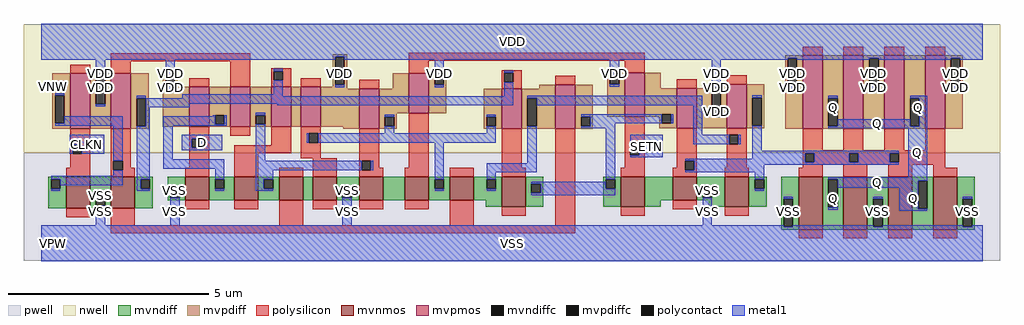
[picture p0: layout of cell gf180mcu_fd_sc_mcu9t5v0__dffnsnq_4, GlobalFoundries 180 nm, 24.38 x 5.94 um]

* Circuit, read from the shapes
.subckt gf180mcu_fd_sc_mcu9t5v0__dffnsnq_4 D SETN CLKN Q VDD VNW VPW VSS
XM1 VSS CLKN n1 VPW nfet_06v0 w=0.79u l=0.6u
XM2 n2 n1 VSS VPW nfet_06v0 w=0.79u l=0.6u
XM3 n3 D VSS VPW nfet_06v0 w=0.59u l=0.6u
XM4 n4 n2 n3 VPW nfet_06v0 w=0.59u l=0.6u
XM5 n5 n1 n4 VPW nfet_06v0 w=0.59u l=0.6u
XM6 VSS n6 n5 VPW nfet_06v0 w=0.59u l=0.6u
XM7 n7 n4 VSS VPW nfet_06v0 w=0.59u l=0.6u
XM8 n6 SETN n7 VPW nfet_06v0 w=0.59u l=0.6u
XM9 n8 n1 n6 VPW nfet_06v0 w=0.59u l=0.6u
XM10 n9 n2 n8 VPW nfet_06v0 w=0.75u l=0.6u
XM11 n10 SETN n9 VPW nfet_06v0 w=0.75u l=0.6u
XM12 VSS n11 n10 VPW nfet_06v0 w=0.59u l=0.6u
XM13 n11 n8 VSS VPW nfet_06v0 w=0.75u l=0.6u
XM14 Q n11 VSS VPW nfet_06v0 w=1.32u l=0.6u m=4
XM15 VDD CLKN n1 VNW pfet_06v0 w=1.38u l=0.5u
XM16 n2 n1 VDD VNW pfet_06v0 w=1.38u l=0.5u
XM17 n3 D VDD VNW pfet_06v0 w=1u l=0.5u
XM18 n4 n1 n3 VNW pfet_06v0 w=1u l=0.5u
XM19 n12 n2 n4 VNW pfet_06v0 w=1u l=0.5u
XM20 VDD n6 n12 VNW pfet_06v0 w=1u l=0.5u
XM21 n6 n4 VDD VNW pfet_06v0 w=1u l=0.5u
XM22 VDD SETN n6 VNW pfet_06v0 w=1u l=0.5u
XM23 n8 n2 n6 VNW pfet_06v0 w=1u l=0.5u
XM24 n9 n1 n8 VNW pfet_06v0 w=1.1u l=0.5u
XM25 n9 SETN VDD VNW pfet_06v0 w=1.1u l=0.5u
XM26 VDD n11 n9 VNW pfet_06v0 w=1u l=0.5u
XM27 n11 n8 VDD VNW pfet_06v0 w=1.1u l=0.5u
XM28 Q n11 VDD VNW pfet_06v0 w=1.83u l=0.5u m=4
.ends

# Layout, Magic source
magic
tech gf180mcuD
magscale 1 10
<< nwell >>
rect -86 453 4790 1094
<< pwell >>
rect -86 -86 4790 453
<< mvnmos >>
rect 124 175 244 333
rect 348 175 468 333
rect 720 215 840 333
rect 964 215 1084 333
rect 1188 215 1308 333
rect 1356 215 1476 333
rect 1588 215 1708 333
rect 1816 215 1936 333
rect 2040 215 2160 333
rect 2300 183 2420 333
rect 2896 183 3016 333
rect 3156 215 3276 333
rect 3416 183 3536 333
rect 3784 69 3904 333
rect 4008 69 4128 333
rect 4232 69 4352 333
rect 4456 69 4576 333
<< mvpmos >>
rect 144 573 244 849
rect 348 573 448 849
rect 740 582 840 782
rect 944 582 1044 782
rect 1148 582 1248 782
rect 1296 582 1396 782
rect 1588 573 1688 773
rect 1836 651 1936 851
rect 2300 573 2400 773
rect 2568 573 2668 793
rect 2916 633 3016 853
rect 3176 575 3276 775
rect 3424 575 3524 795
rect 3804 573 3904 939
rect 4008 573 4108 939
rect 4212 573 4312 939
rect 4416 573 4516 939
<< mvndiff >>
rect 36 320 124 333
rect 36 274 49 320
rect 95 274 124 320
rect 36 175 124 274
rect 244 234 348 333
rect 244 188 273 234
rect 319 188 348 234
rect 244 175 348 188
rect 468 320 556 333
rect 468 274 497 320
rect 543 274 556 320
rect 468 175 556 274
rect 632 274 720 333
rect 632 228 645 274
rect 691 228 720 274
rect 632 215 720 228
rect 840 320 964 333
rect 840 274 869 320
rect 915 274 964 320
rect 840 215 964 274
rect 1084 320 1188 333
rect 1084 274 1113 320
rect 1159 274 1188 320
rect 1084 215 1188 274
rect 1308 215 1356 333
rect 1476 274 1588 333
rect 1476 228 1505 274
rect 1551 228 1588 274
rect 1476 215 1588 228
rect 1708 215 1816 333
rect 1936 320 2040 333
rect 1936 274 1965 320
rect 2011 274 2040 320
rect 1936 215 2040 274
rect 2160 320 2300 333
rect 2160 274 2225 320
rect 2271 274 2300 320
rect 2160 215 2300 274
rect 2220 183 2300 215
rect 2420 298 2508 333
rect 2420 252 2449 298
rect 2495 252 2508 298
rect 2420 183 2508 252
rect 2808 320 2896 333
rect 2808 274 2821 320
rect 2867 274 2896 320
rect 2808 183 2896 274
rect 3016 215 3156 333
rect 3276 274 3416 333
rect 3276 228 3305 274
rect 3351 228 3416 274
rect 3276 215 3416 228
rect 3016 183 3096 215
rect 3336 183 3416 215
rect 3536 320 3624 333
rect 3536 274 3565 320
rect 3611 274 3624 320
rect 3536 183 3624 274
rect 3696 222 3784 333
rect 3696 82 3709 222
rect 3755 82 3784 222
rect 3696 69 3784 82
rect 3904 320 4008 333
rect 3904 180 3933 320
rect 3979 180 4008 320
rect 3904 69 4008 180
rect 4128 222 4232 333
rect 4128 82 4157 222
rect 4203 82 4232 222
rect 4128 69 4232 82
rect 4352 314 4456 333
rect 4352 174 4381 314
rect 4427 174 4456 314
rect 4352 69 4456 174
rect 4576 222 4664 333
rect 4576 82 4605 222
rect 4651 82 4664 222
rect 4576 69 4664 82
<< mvpdiff >>
rect 56 739 144 849
rect 56 599 69 739
rect 115 599 144 739
rect 56 573 144 599
rect 244 836 348 849
rect 244 696 273 836
rect 319 696 348 836
rect 244 573 348 696
rect 448 726 536 849
rect 448 586 477 726
rect 523 586 536 726
rect 448 573 536 586
rect 608 829 680 842
rect 608 783 621 829
rect 667 783 680 829
rect 608 782 680 783
rect 1456 932 1528 945
rect 1456 792 1469 932
rect 1515 792 1528 932
rect 3716 926 3804 939
rect 1456 782 1528 792
rect 608 582 740 782
rect 840 641 944 782
rect 840 595 869 641
rect 915 595 944 641
rect 840 582 944 595
rect 1044 641 1148 782
rect 1044 595 1073 641
rect 1119 595 1148 641
rect 1044 582 1148 595
rect 1248 582 1296 782
rect 1396 773 1528 782
rect 1756 773 1836 851
rect 1396 582 1588 773
rect 1508 573 1588 582
rect 1688 651 1836 773
rect 1936 838 2024 851
rect 1936 792 1965 838
rect 2011 792 2024 838
rect 1936 651 2024 792
rect 2828 840 2916 853
rect 2828 794 2841 840
rect 2887 794 2916 840
rect 2488 773 2568 793
rect 1688 632 1776 651
rect 1688 586 1717 632
rect 1763 586 1776 632
rect 1688 573 1776 586
rect 2212 632 2300 773
rect 2212 586 2225 632
rect 2271 586 2300 632
rect 2212 573 2300 586
rect 2400 726 2568 773
rect 2400 586 2429 726
rect 2475 586 2568 726
rect 2400 573 2568 586
rect 2668 632 2756 793
rect 2828 633 2916 794
rect 3016 775 3096 853
rect 3336 782 3424 795
rect 3336 775 3349 782
rect 3016 645 3176 775
rect 3016 633 3101 645
rect 2668 586 2697 632
rect 2743 586 2756 632
rect 2668 573 2756 586
rect 3088 599 3101 633
rect 3147 599 3176 645
rect 3088 575 3176 599
rect 3276 642 3349 775
rect 3395 642 3424 782
rect 3276 575 3424 642
rect 3524 728 3612 795
rect 3524 588 3553 728
rect 3599 588 3612 728
rect 3524 575 3612 588
rect 3716 786 3729 926
rect 3775 786 3804 926
rect 3716 573 3804 786
rect 3904 726 4008 939
rect 3904 586 3933 726
rect 3979 586 4008 726
rect 3904 573 4008 586
rect 4108 926 4212 939
rect 4108 786 4137 926
rect 4183 786 4212 926
rect 4108 573 4212 786
rect 4312 726 4416 939
rect 4312 586 4341 726
rect 4387 586 4416 726
rect 4312 573 4416 586
rect 4516 926 4604 939
rect 4516 786 4545 926
rect 4591 786 4604 926
rect 4516 573 4604 786
<< mvndiffc >>
rect 49 274 95 320
rect 273 188 319 234
rect 497 274 543 320
rect 645 228 691 274
rect 869 274 915 320
rect 1113 274 1159 320
rect 1505 228 1551 274
rect 1965 274 2011 320
rect 2225 274 2271 320
rect 2449 252 2495 298
rect 2821 274 2867 320
rect 3305 228 3351 274
rect 3565 274 3611 320
rect 3709 82 3755 222
rect 3933 180 3979 320
rect 4157 82 4203 222
rect 4381 174 4427 314
rect 4605 82 4651 222
<< mvpdiffc >>
rect 69 599 115 739
rect 273 696 319 836
rect 477 586 523 726
rect 621 783 667 829
rect 1469 792 1515 932
rect 869 595 915 641
rect 1073 595 1119 641
rect 1965 792 2011 838
rect 2841 794 2887 840
rect 1717 586 1763 632
rect 2225 586 2271 632
rect 2429 586 2475 726
rect 2697 586 2743 632
rect 3101 599 3147 645
rect 3349 642 3395 782
rect 3553 588 3599 728
rect 3729 786 3775 926
rect 3933 586 3979 726
rect 4137 786 4183 926
rect 4341 586 4387 726
rect 4545 786 4591 926
<< polysilicon >>
rect 348 909 1044 949
rect 144 849 244 893
rect 348 849 448 909
rect 740 782 840 826
rect 944 782 1044 909
rect 1148 861 1248 874
rect 1148 815 1161 861
rect 1207 815 1248 861
rect 1148 782 1248 815
rect 1296 782 1396 826
rect 1836 913 3016 953
rect 3804 939 3904 983
rect 4008 939 4108 983
rect 4212 939 4312 983
rect 4416 939 4516 983
rect 1836 851 1936 913
rect 2300 852 2400 865
rect 2916 853 3016 913
rect 1588 773 1688 817
rect 144 494 244 573
rect 144 448 157 494
rect 203 448 244 494
rect 144 377 244 448
rect 124 333 244 377
rect 348 412 448 573
rect 348 366 361 412
rect 407 377 448 412
rect 740 523 840 582
rect 944 538 1044 582
rect 740 477 753 523
rect 799 477 840 523
rect 1148 490 1248 582
rect 740 377 840 477
rect 407 366 468 377
rect 348 333 468 366
rect 720 333 840 377
rect 964 450 1248 490
rect 1296 549 1396 582
rect 2300 806 2313 852
rect 2359 806 2400 852
rect 2300 773 2400 806
rect 2568 793 2668 837
rect 1296 503 1337 549
rect 1383 503 1396 549
rect 964 333 1084 450
rect 1296 425 1396 503
rect 1188 333 1308 377
rect 1356 333 1476 425
rect 1588 412 1688 573
rect 1588 366 1601 412
rect 1647 377 1688 412
rect 1836 377 1936 651
rect 3176 775 3276 819
rect 3424 795 3524 839
rect 2300 377 2400 573
rect 1647 366 1708 377
rect 1588 333 1708 366
rect 1816 333 1936 377
rect 2040 333 2160 377
rect 2300 333 2420 377
rect 124 131 244 175
rect 348 91 468 175
rect 720 171 840 215
rect 964 171 1084 215
rect 1188 91 1308 215
rect 1356 171 1476 215
rect 1588 171 1708 215
rect 1816 171 1936 215
rect 2040 91 2160 215
rect 2300 139 2420 183
rect 2568 91 2668 573
rect 2916 487 3016 633
rect 2916 441 2942 487
rect 2988 441 3016 487
rect 2916 377 3016 441
rect 3176 412 3276 575
rect 3176 377 3217 412
rect 2896 333 3016 377
rect 3156 366 3217 377
rect 3263 366 3276 412
rect 3424 542 3524 575
rect 3424 496 3437 542
rect 3483 496 3524 542
rect 3424 377 3524 496
rect 3804 465 3904 573
rect 4008 465 4108 573
rect 4212 465 4312 573
rect 4416 465 4516 573
rect 3804 451 4516 465
rect 3804 405 3817 451
rect 3863 405 4037 451
rect 4083 405 4239 451
rect 4285 405 4516 451
rect 3804 393 4516 405
rect 3804 377 3904 393
rect 3156 333 3276 366
rect 3416 333 3536 377
rect 3784 333 3904 377
rect 4008 333 4128 393
rect 4232 333 4352 393
rect 4456 377 4516 393
rect 4456 333 4576 377
rect 2896 139 3016 183
rect 3156 171 3276 215
rect 3416 139 3536 183
rect 348 51 2668 91
rect 3784 25 3904 69
rect 4008 25 4128 69
rect 4232 25 4352 69
rect 4456 25 4576 69
<< polycontact >>
rect 1161 815 1207 861
rect 157 448 203 494
rect 361 366 407 412
rect 753 477 799 523
rect 2313 806 2359 852
rect 1337 503 1383 549
rect 1601 366 1647 412
rect 2942 441 2988 487
rect 3217 366 3263 412
rect 3437 496 3483 542
rect 3817 405 3863 451
rect 4037 405 4083 451
rect 4239 405 4285 451
<< metal1 >>
rect 0 932 4704 1098
rect 0 918 1469 932
rect 273 836 319 918
rect 69 739 115 750
rect 621 829 667 918
rect 621 772 667 783
rect 1161 861 1207 872
rect 1161 744 1207 815
rect 1515 926 4704 932
rect 1515 918 3729 926
rect 1469 781 1515 792
rect 1965 838 2011 918
rect 1965 781 2011 792
rect 2313 852 2359 863
rect 273 685 319 696
rect 477 726 523 737
rect 704 735 1207 744
rect 2313 735 2359 806
rect 2841 840 2887 918
rect 2841 783 2887 794
rect 3349 782 3395 918
rect 704 726 2359 735
rect 115 599 407 634
rect 69 588 407 599
rect 142 494 315 542
rect 142 448 157 494
rect 203 448 315 494
rect 361 412 407 588
rect 361 337 407 366
rect 49 320 407 337
rect 95 291 407 320
rect 523 698 2359 726
rect 523 680 741 698
rect 1179 689 2359 698
rect 2429 726 3303 737
rect 523 586 543 680
rect 1073 641 1119 652
rect 858 634 869 641
rect 477 320 543 586
rect 610 595 869 634
rect 915 595 926 641
rect 610 588 926 595
rect 610 420 656 588
rect 702 523 905 542
rect 702 477 753 523
rect 799 477 905 523
rect 702 466 905 477
rect 610 374 915 420
rect 49 263 95 274
rect 477 274 497 320
rect 869 320 915 374
rect 477 263 543 274
rect 645 274 691 285
rect 273 234 319 245
rect 273 90 319 188
rect 869 263 915 274
rect 1073 412 1119 595
rect 1717 632 1763 643
rect 1717 549 1763 586
rect 2225 632 2271 643
rect 2225 549 2271 586
rect 1326 503 1337 549
rect 1383 503 2271 549
rect 2475 691 3303 726
rect 1073 366 1601 412
rect 1647 366 1658 412
rect 1073 320 1159 366
rect 1073 274 1113 320
rect 1965 320 2011 503
rect 2429 401 2475 586
rect 2697 632 3101 645
rect 2743 599 3101 632
rect 3147 599 3158 645
rect 2743 586 2867 599
rect 2697 575 2867 586
rect 1073 263 1159 274
rect 1505 274 1551 285
rect 645 90 691 228
rect 1965 263 2011 274
rect 2225 355 2475 401
rect 2225 320 2271 355
rect 2821 320 2867 575
rect 3257 542 3303 691
rect 3775 918 4137 926
rect 3729 775 3775 786
rect 4183 918 4545 926
rect 4137 775 4183 786
rect 4591 918 4704 926
rect 4545 775 4591 786
rect 3349 631 3395 642
rect 3553 728 3599 739
rect 2942 487 3106 542
rect 3257 496 3437 542
rect 3483 496 3494 542
rect 2988 441 3106 487
rect 2942 430 3106 441
rect 3553 464 3599 588
rect 3933 726 3979 737
rect 4341 726 4427 737
rect 3979 586 4341 621
rect 4387 586 4427 726
rect 3933 575 4427 586
rect 3553 451 4285 464
rect 3553 423 3817 451
rect 3217 412 3817 423
rect 3263 405 3817 412
rect 3863 405 4037 451
rect 4083 405 4239 451
rect 3263 392 4285 405
rect 3263 366 3611 392
rect 3217 355 3611 366
rect 2225 263 2271 274
rect 2449 298 2821 309
rect 2495 274 2821 298
rect 3565 320 3611 355
rect 4331 331 4427 575
rect 2495 252 2867 274
rect 2449 241 2867 252
rect 3305 274 3351 285
rect 1505 90 1551 228
rect 3565 263 3611 274
rect 3933 320 4427 331
rect 3305 90 3351 228
rect 3709 222 3755 233
rect 0 82 3709 90
rect 3979 314 4427 320
rect 3979 279 4381 314
rect 3933 169 3979 180
rect 4157 222 4203 233
rect 3755 82 4157 90
rect 4286 174 4381 279
rect 4286 163 4427 174
rect 4605 222 4651 233
rect 4203 82 4605 90
rect 4651 82 4704 90
rect 0 -90 4704 82
<< labels >>
flabel metal1 s 142 448 315 542 0 FreeSans 200 0 0 0 CLKN
port 3 nsew clock input
flabel metal1 s 702 466 905 542 0 FreeSans 200 0 0 0 D
port 1 nsew default input
flabel metal1 s 4341 621 4427 737 0 FreeSans 200 0 0 0 Q
port 4 nsew default output
flabel metal1 s 2942 430 3106 542 0 FreeSans 200 0 0 0 SETN
port 2 nsew default input
flabel metal1 s 0 918 4704 1098 0 FreeSans 200 0 0 0 VDD
port 5 nsew power bidirectional abutment
flabel metal1 s 3305 245 3351 285 0 FreeSans 200 0 0 0 VSS
port 8 nsew ground bidirectional abutment
flabel nwell s 10 734 110 834 0 FreeSans 400 0 0 0 VNW
port 6 nsew power bidirectional
flabel pwell s 10 -50 110 50 0 FreeSans 400 0 0 0 VPW
port 7 nsew ground bidirectional
rlabel metal1 s 3933 621 3979 737 1 Q
port 4 nsew default output
rlabel metal1 s 3933 575 4427 621 1 Q
port 4 nsew default output
rlabel metal1 s 4331 331 4427 575 1 Q
port 4 nsew default output
rlabel metal1 s 3933 279 4427 331 1 Q
port 4 nsew default output
rlabel metal1 s 4286 169 4427 279 1 Q
port 4 nsew default output
rlabel metal1 s 3933 169 3979 279 1 Q
port 4 nsew default output
rlabel metal1 s 4286 163 4427 169 1 Q
port 4 nsew default output
rlabel metal1 s 4545 783 4591 918 1 VDD
port 5 nsew power bidirectional abutment
rlabel metal1 s 4137 783 4183 918 1 VDD
port 5 nsew power bidirectional abutment
rlabel metal1 s 3729 783 3775 918 1 VDD
port 5 nsew power bidirectional abutment
rlabel metal1 s 3349 783 3395 918 1 VDD
port 5 nsew power bidirectional abutment
rlabel metal1 s 2841 783 2887 918 1 VDD
port 5 nsew power bidirectional abutment
rlabel metal1 s 1965 783 2011 918 1 VDD
port 5 nsew power bidirectional abutment
rlabel metal1 s 1469 783 1515 918 1 VDD
port 5 nsew power bidirectional abutment
rlabel metal1 s 621 783 667 918 1 VDD
port 5 nsew power bidirectional abutment
rlabel metal1 s 273 783 319 918 1 VDD
port 5 nsew power bidirectional abutment
rlabel metal1 s 4545 781 4591 783 1 VDD
port 5 nsew power bidirectional abutment
rlabel metal1 s 4137 781 4183 783 1 VDD
port 5 nsew power bidirectional abutment
rlabel metal1 s 3729 781 3775 783 1 VDD
port 5 nsew power bidirectional abutment
rlabel metal1 s 3349 781 3395 783 1 VDD
port 5 nsew power bidirectional abutment
rlabel metal1 s 1965 781 2011 783 1 VDD
port 5 nsew power bidirectional abutment
rlabel metal1 s 1469 781 1515 783 1 VDD
port 5 nsew power bidirectional abutment
rlabel metal1 s 621 781 667 783 1 VDD
port 5 nsew power bidirectional abutment
rlabel metal1 s 273 781 319 783 1 VDD
port 5 nsew power bidirectional abutment
rlabel metal1 s 4545 775 4591 781 1 VDD
port 5 nsew power bidirectional abutment
rlabel metal1 s 4137 775 4183 781 1 VDD
port 5 nsew power bidirectional abutment
rlabel metal1 s 3729 775 3775 781 1 VDD
port 5 nsew power bidirectional abutment
rlabel metal1 s 3349 775 3395 781 1 VDD
port 5 nsew power bidirectional abutment
rlabel metal1 s 621 775 667 781 1 VDD
port 5 nsew power bidirectional abutment
rlabel metal1 s 273 775 319 781 1 VDD
port 5 nsew power bidirectional abutment
rlabel metal1 s 3349 772 3395 775 1 VDD
port 5 nsew power bidirectional abutment
rlabel metal1 s 621 772 667 775 1 VDD
port 5 nsew power bidirectional abutment
rlabel metal1 s 273 772 319 775 1 VDD
port 5 nsew power bidirectional abutment
rlabel metal1 s 3349 685 3395 772 1 VDD
port 5 nsew power bidirectional abutment
rlabel metal1 s 273 685 319 772 1 VDD
port 5 nsew power bidirectional abutment
rlabel metal1 s 3349 631 3395 685 1 VDD
port 5 nsew power bidirectional abutment
rlabel metal1 s 1505 245 1551 285 1 VSS
port 8 nsew ground bidirectional abutment
rlabel metal1 s 645 245 691 285 1 VSS
port 8 nsew ground bidirectional abutment
rlabel metal1 s 3305 233 3351 245 1 VSS
port 8 nsew ground bidirectional abutment
rlabel metal1 s 1505 233 1551 245 1 VSS
port 8 nsew ground bidirectional abutment
rlabel metal1 s 645 233 691 245 1 VSS
port 8 nsew ground bidirectional abutment
rlabel metal1 s 273 233 319 245 1 VSS
port 8 nsew ground bidirectional abutment
rlabel metal1 s 4605 90 4651 233 1 VSS
port 8 nsew ground bidirectional abutment
rlabel metal1 s 4157 90 4203 233 1 VSS
port 8 nsew ground bidirectional abutment
rlabel metal1 s 3709 90 3755 233 1 VSS
port 8 nsew ground bidirectional abutment
rlabel metal1 s 3305 90 3351 233 1 VSS
port 8 nsew ground bidirectional abutment
rlabel metal1 s 1505 90 1551 233 1 VSS
port 8 nsew ground bidirectional abutment
rlabel metal1 s 645 90 691 233 1 VSS
port 8 nsew ground bidirectional abutment
rlabel metal1 s 273 90 319 233 1 VSS
port 8 nsew ground bidirectional abutment
rlabel metal1 s 0 -90 4704 90 1 VSS
port 8 nsew ground bidirectional abutment
<< properties >>
string FIXED_BBOX 0 0 4704 1008
string GDS_END 580260
string GDS_FILE $PDKPATH/libs.ref/gf180mcu_fd_sc_mcu9t5v0/gds/gf180mcu_fd_sc_mcu9t5v0.gds
string GDS_START 570398
string LEFclass core
string LEFsite GF018hv5v_green_sc9
string LEFsymmetry X Y
<< end >>
